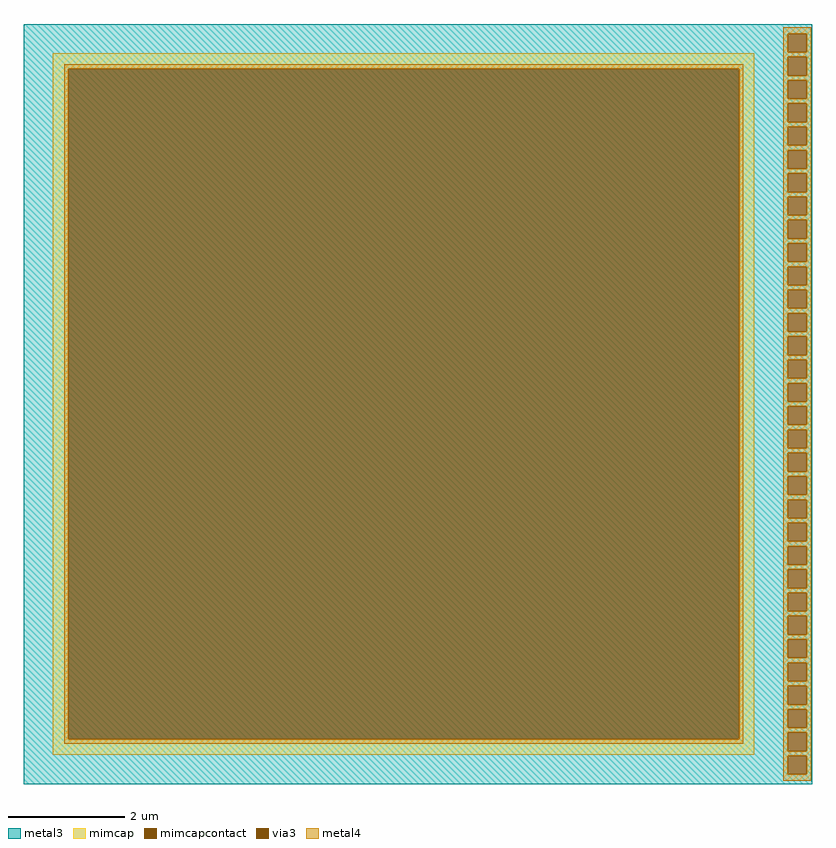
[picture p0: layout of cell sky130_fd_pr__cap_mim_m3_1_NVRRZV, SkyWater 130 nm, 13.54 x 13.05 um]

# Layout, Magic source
magic
tech sky130A
magscale 1 2
<< metal3 >>
rect -1355 1272 1354 1305
rect -1355 1208 1270 1272
rect 1334 1208 1354 1272
rect -1355 1192 1354 1208
rect -1355 1128 1270 1192
rect 1334 1128 1354 1192
rect -1355 1112 1354 1128
rect -1355 1048 1270 1112
rect 1334 1048 1354 1112
rect -1355 1032 1354 1048
rect -1355 968 1270 1032
rect 1334 968 1354 1032
rect -1355 952 1354 968
rect -1355 888 1270 952
rect 1334 888 1354 952
rect -1355 872 1354 888
rect -1355 808 1270 872
rect 1334 808 1354 872
rect -1355 792 1354 808
rect -1355 728 1270 792
rect 1334 728 1354 792
rect -1355 712 1354 728
rect -1355 648 1270 712
rect 1334 648 1354 712
rect -1355 632 1354 648
rect -1355 568 1270 632
rect 1334 568 1354 632
rect -1355 552 1354 568
rect -1355 488 1270 552
rect 1334 488 1354 552
rect -1355 472 1354 488
rect -1355 408 1270 472
rect 1334 408 1354 472
rect -1355 392 1354 408
rect -1355 328 1270 392
rect 1334 328 1354 392
rect -1355 312 1354 328
rect -1355 248 1270 312
rect 1334 248 1354 312
rect -1355 232 1354 248
rect -1355 168 1270 232
rect 1334 168 1354 232
rect -1355 152 1354 168
rect -1355 88 1270 152
rect 1334 88 1354 152
rect -1355 72 1354 88
rect -1355 8 1270 72
rect 1334 8 1354 72
rect -1355 -8 1354 8
rect -1355 -72 1270 -8
rect 1334 -72 1354 -8
rect -1355 -88 1354 -72
rect -1355 -152 1270 -88
rect 1334 -152 1354 -88
rect -1355 -168 1354 -152
rect -1355 -232 1270 -168
rect 1334 -232 1354 -168
rect -1355 -248 1354 -232
rect -1355 -312 1270 -248
rect 1334 -312 1354 -248
rect -1355 -328 1354 -312
rect -1355 -392 1270 -328
rect 1334 -392 1354 -328
rect -1355 -408 1354 -392
rect -1355 -472 1270 -408
rect 1334 -472 1354 -408
rect -1355 -488 1354 -472
rect -1355 -552 1270 -488
rect 1334 -552 1354 -488
rect -1355 -568 1354 -552
rect -1355 -632 1270 -568
rect 1334 -632 1354 -568
rect -1355 -648 1354 -632
rect -1355 -712 1270 -648
rect 1334 -712 1354 -648
rect -1355 -728 1354 -712
rect -1355 -792 1270 -728
rect 1334 -792 1354 -728
rect -1355 -808 1354 -792
rect -1355 -872 1270 -808
rect 1334 -872 1354 -808
rect -1355 -888 1354 -872
rect -1355 -952 1270 -888
rect 1334 -952 1354 -888
rect -1355 -968 1354 -952
rect -1355 -1032 1270 -968
rect 1334 -1032 1354 -968
rect -1355 -1048 1354 -1032
rect -1355 -1112 1270 -1048
rect 1334 -1112 1354 -1048
rect -1355 -1128 1354 -1112
rect -1355 -1192 1270 -1128
rect 1334 -1192 1354 -1128
rect -1355 -1208 1354 -1192
rect -1355 -1272 1270 -1208
rect 1334 -1272 1354 -1208
rect -1355 -1305 1354 -1272
<< via3 >>
rect 1270 1208 1334 1272
rect 1270 1128 1334 1192
rect 1270 1048 1334 1112
rect 1270 968 1334 1032
rect 1270 888 1334 952
rect 1270 808 1334 872
rect 1270 728 1334 792
rect 1270 648 1334 712
rect 1270 568 1334 632
rect 1270 488 1334 552
rect 1270 408 1334 472
rect 1270 328 1334 392
rect 1270 248 1334 312
rect 1270 168 1334 232
rect 1270 88 1334 152
rect 1270 8 1334 72
rect 1270 -72 1334 -8
rect 1270 -152 1334 -88
rect 1270 -232 1334 -168
rect 1270 -312 1334 -248
rect 1270 -392 1334 -328
rect 1270 -472 1334 -408
rect 1270 -552 1334 -488
rect 1270 -632 1334 -568
rect 1270 -712 1334 -648
rect 1270 -792 1334 -728
rect 1270 -872 1334 -808
rect 1270 -952 1334 -888
rect 1270 -1032 1334 -968
rect 1270 -1112 1334 -1048
rect 1270 -1192 1334 -1128
rect 1270 -1272 1334 -1208
<< mimcap >>
rect -1255 1152 1155 1205
rect -1255 -1152 -1202 1152
rect 1102 -1152 1155 1152
rect -1255 -1205 1155 -1152
<< mimcapcontact >>
rect -1202 -1152 1102 1152
<< metal4 >>
rect 1254 1272 1350 1293
rect 1254 1208 1270 1272
rect 1334 1208 1350 1272
rect 1254 1192 1350 1208
rect -1216 1152 1116 1166
rect -1216 -1152 -1202 1152
rect 1102 -1152 1116 1152
rect -1216 -1166 1116 -1152
rect 1254 1128 1270 1192
rect 1334 1128 1350 1192
rect 1254 1112 1350 1128
rect 1254 1048 1270 1112
rect 1334 1048 1350 1112
rect 1254 1032 1350 1048
rect 1254 968 1270 1032
rect 1334 968 1350 1032
rect 1254 952 1350 968
rect 1254 888 1270 952
rect 1334 888 1350 952
rect 1254 872 1350 888
rect 1254 808 1270 872
rect 1334 808 1350 872
rect 1254 792 1350 808
rect 1254 728 1270 792
rect 1334 728 1350 792
rect 1254 712 1350 728
rect 1254 648 1270 712
rect 1334 648 1350 712
rect 1254 632 1350 648
rect 1254 568 1270 632
rect 1334 568 1350 632
rect 1254 552 1350 568
rect 1254 488 1270 552
rect 1334 488 1350 552
rect 1254 472 1350 488
rect 1254 408 1270 472
rect 1334 408 1350 472
rect 1254 392 1350 408
rect 1254 328 1270 392
rect 1334 328 1350 392
rect 1254 312 1350 328
rect 1254 248 1270 312
rect 1334 248 1350 312
rect 1254 232 1350 248
rect 1254 168 1270 232
rect 1334 168 1350 232
rect 1254 152 1350 168
rect 1254 88 1270 152
rect 1334 88 1350 152
rect 1254 72 1350 88
rect 1254 8 1270 72
rect 1334 8 1350 72
rect 1254 -8 1350 8
rect 1254 -72 1270 -8
rect 1334 -72 1350 -8
rect 1254 -88 1350 -72
rect 1254 -152 1270 -88
rect 1334 -152 1350 -88
rect 1254 -168 1350 -152
rect 1254 -232 1270 -168
rect 1334 -232 1350 -168
rect 1254 -248 1350 -232
rect 1254 -312 1270 -248
rect 1334 -312 1350 -248
rect 1254 -328 1350 -312
rect 1254 -392 1270 -328
rect 1334 -392 1350 -328
rect 1254 -408 1350 -392
rect 1254 -472 1270 -408
rect 1334 -472 1350 -408
rect 1254 -488 1350 -472
rect 1254 -552 1270 -488
rect 1334 -552 1350 -488
rect 1254 -568 1350 -552
rect 1254 -632 1270 -568
rect 1334 -632 1350 -568
rect 1254 -648 1350 -632
rect 1254 -712 1270 -648
rect 1334 -712 1350 -648
rect 1254 -728 1350 -712
rect 1254 -792 1270 -728
rect 1334 -792 1350 -728
rect 1254 -808 1350 -792
rect 1254 -872 1270 -808
rect 1334 -872 1350 -808
rect 1254 -888 1350 -872
rect 1254 -952 1270 -888
rect 1334 -952 1350 -888
rect 1254 -968 1350 -952
rect 1254 -1032 1270 -968
rect 1334 -1032 1350 -968
rect 1254 -1048 1350 -1032
rect 1254 -1112 1270 -1048
rect 1334 -1112 1350 -1048
rect 1254 -1128 1350 -1112
rect 1254 -1192 1270 -1128
rect 1334 -1192 1350 -1128
rect 1254 -1208 1350 -1192
rect 1254 -1272 1270 -1208
rect 1334 -1272 1350 -1208
rect 1254 -1293 1350 -1272
<< properties >>
string FIXED_BBOX -1355 -1305 1255 1305
<< end >>
